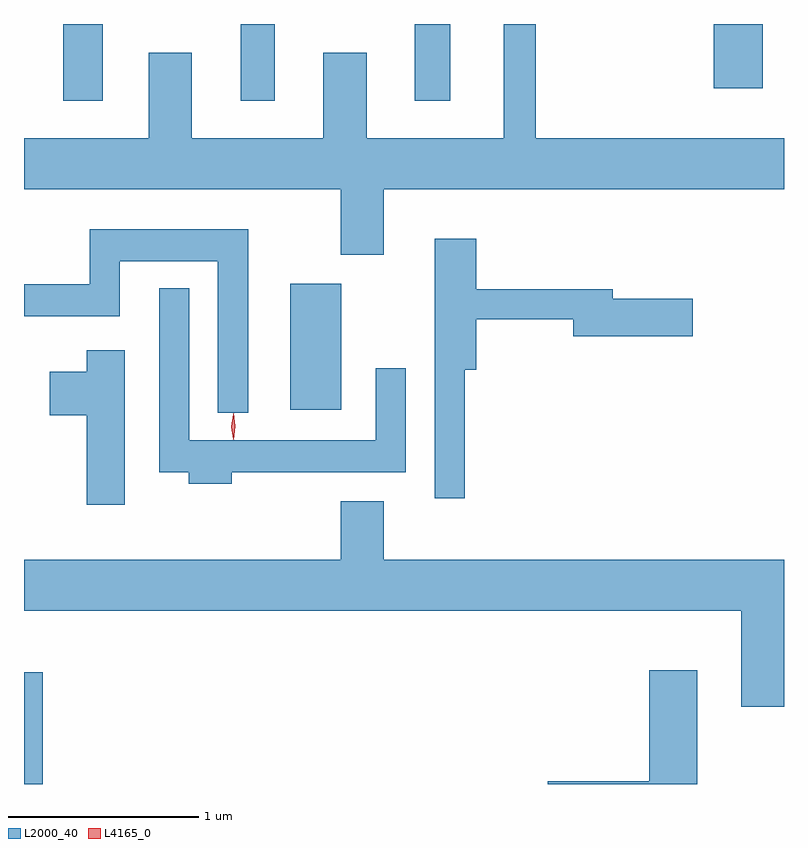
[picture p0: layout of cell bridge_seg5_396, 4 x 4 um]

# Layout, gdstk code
import gdstk
lib = gdstk.Library(unit=1e-6, precision=1e-09)
def R(c, l, rs):  # rectangles x0, y0, x1, y1
    for r in rs: c.add(gdstk.rectangle(r[:2], r[2:], *l))
def P(c, l, *ps):  # polygons
    for p in ps: c.add(gdstk.Polygon(p, *l))
L2000_40 = (2000, 40)
L4165_0 = (4165, 0)

bridge_seg5_396 = lib.new_cell('bridge_seg5_396')
R(bridge_seg5_396, L2000_40, [(544.265,1515.825,544.364,1516.413), (545.666,1517.796,545.934,1518.459), (544.471,1519.421,544.679,1519.825), (545.406,1519.421,545.584,1519.825), (546.321,1519.421,546.509,1519.825), (547.896,1519.486,548.154,1519.825)])
P(bridge_seg5_396, L2000_40, [(546.159,1518.956),(548.265,1518.956),(548.265,1519.224),(546.959,1519.224),(546.959,1519.825),(546.791,1519.825),(546.791,1519.224),(546.069,1519.224),(546.069,1519.674),(545.841,1519.674),(545.841,1519.224),(545.149,1519.224),(545.149,1519.674),(544.921,1519.674),(544.921,1519.224),(544.265,1519.224),(544.265,1518.956),(545.931,1518.956),(545.931,1518.611),(546.159,1518.611)],
  [(545.444,1518.744),(544.611,1518.744),(544.611,1518.454),(544.265,1518.454),(544.265,1518.286),(544.769,1518.286),(544.769,1518.576),(545.286,1518.576),(545.286,1517.778),(545.444,1517.778)],
  [(546.584,1518.006),(546.644,1518.006),(546.644,1518.271),(547.156,1518.271),(547.156,1518.181),(547.784,1518.181),(547.784,1518.379),(547.364,1518.379),(547.364,1518.429),(546.644,1518.429),(546.644,1518.694),(546.426,1518.694),(546.426,1517.328),(546.584,1517.328)],
  [(545.359,1517.466),(546.274,1517.466),(546.274,1518.013),(546.116,1518.013),(546.116,1517.634),(545.134,1517.634),(545.134,1518.433),(544.976,1518.433),(544.976,1517.466),(545.131,1517.466),(545.131,1517.406),(545.359,1517.406)],
  [(544.794,1518.109),(544.596,1518.109),(544.596,1517.994),(544.401,1517.994),(544.401,1517.766),(544.596,1517.766),(544.596,1517.296),(544.794,1517.296)],
  [(548.265,1517.004),(546.159,1517.004),(546.159,1517.314),(545.931,1517.314),(545.931,1517.004),(544.265,1517.004),(544.265,1516.736),(548.041,1516.736),(548.041,1516.231),(548.265,1516.231)],
  [(547.809,1516.424),(547.556,1516.424),(547.556,1515.839),(547.021,1515.839),(547.021,1515.825),(547.809,1515.825)])
P(bridge_seg5_396, L4165_0, [(545.368,1517.637),(545.368,1517.637),(545.358,1517.707),(545.368,1517.776),(545.368,1517.776),(545.368,1517.776),(545.378,1517.707),(545.368,1517.637)],
  [(545.365,1517.639),(545.365,1517.64),(545.355,1517.706),(545.365,1517.772),(545.365,1517.773),(545.366,1517.772),(545.375,1517.706),(545.366,1517.64)])

lib.write_gds('bridge_seg5_396.gds')
